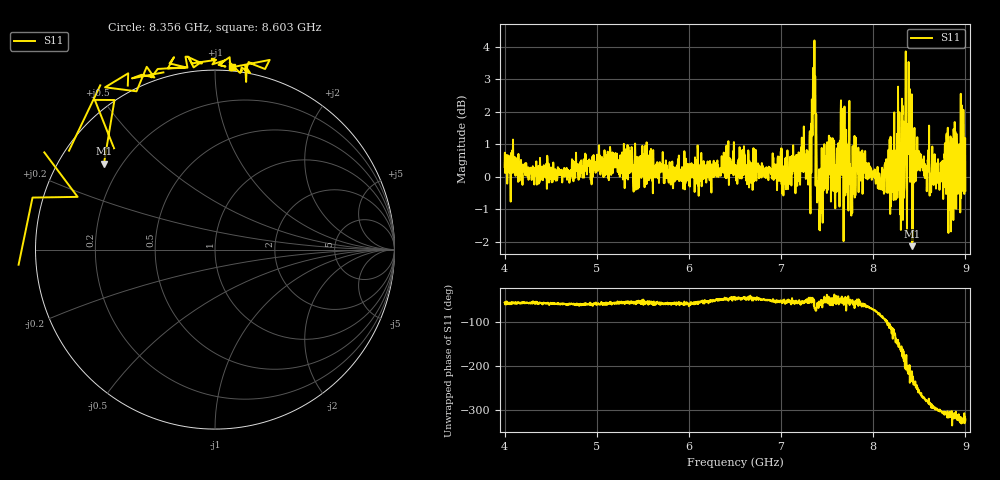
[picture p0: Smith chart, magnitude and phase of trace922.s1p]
! Created with skrf 1.8.0 (http://scikit-rf.org).
# Hz S RI R 50.0
!freq ReS11 ImS11
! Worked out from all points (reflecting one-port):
!   1601 points, 4 GHz to 9 GHz, reference 50 ohm
!   lowest |S11| = -2.1 dB at 8.422 GHz (marker M1), VSWR 8.19, Z = 6.81 + j16.8 ohm
!   phase of S11 starts at -56 deg and turns -266 deg over the sweep
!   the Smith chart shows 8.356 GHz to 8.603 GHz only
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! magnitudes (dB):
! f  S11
! 4 GHz  0.3
! 4.625 GHz  -0.2
! 5.25 GHz  0.0
! 5.875 GHz  0.4
! 6.5 GHz  0.4
! 7.125 GHz  0.2
! 7.294 GHz  -0.2
! 7.319 GHz  -1.1
! 7.347 GHz  3.3
! 7.369 GHz  3.1
! 7.4 GHz  -0.3
! 7.428 GHz  -0.2
! 7.512 GHz  1.0
! 7.609 GHz  -0.2
! 7.647 GHz  2.0
! 7.75 GHz  0.3
! 8.094 GHz  0.0
! 8.294 GHz  -0.5
! 8.316 GHz  1.9
! 8.334 GHz  -0.5
! 8.347 GHz  1.7
! 8.375 GHz  1.1
! 8.422 GHz  -2.1
! 8.697 GHz  0.0
! 8.788 GHz  -0.1
! 8.919 GHz  -0.5
! 8.956 GHz  0.0
! 9 GHz  -0.4
